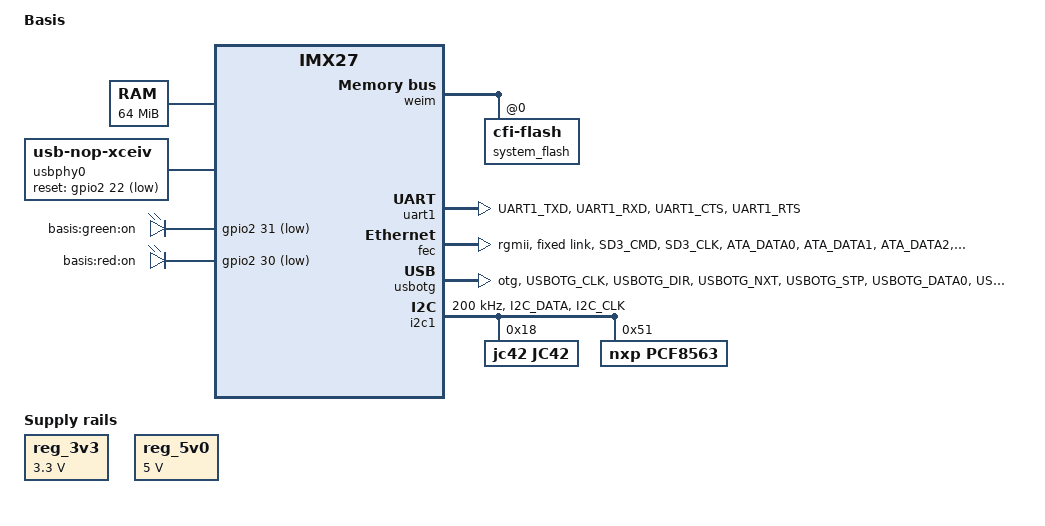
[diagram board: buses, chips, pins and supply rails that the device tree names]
/*
* MX27 Basis Device Tree Source stub (no addresses or top-level ranges)
*
* Copyright 2011-2012 Freescale Semiconductor Inc.
* Copyright 2014  Westermo Teleindustri AB
*
* Redistribution and use in source and binary forms, with or without
* modification, are permitted provided that the following conditions are met:
*     * Redistributions of source code must retain the above copyright
*       notice, this list of conditions and the following disclaimer.
*     * Redistributions in binary form must reproduce the above copyright
*       notice, this list of conditions and the following disclaimer in the
*       documentation and/or other materials provided with the distribution.
*     * Neither the name of Freescale Semiconductor nor the
*       names of its contributors may be used to endorse or promote products
*       derived from this software without specific prior written permission.
*
*
* ALTERNATIVELY, this software may be distributed under the terms of the
* GNU General Public License ("GPL") as published by the Free Software
* Foundation, either version 2 of that License or (at your option) any
* later version.
*
* THIS SOFTWARE IS PROVIDED BY Freescale Semiconductor ``AS IS'' AND ANY
* EXPRESS OR IMPLIED WARRANTIES, INCLUDING, BUT NOT LIMITED TO, THE IMPLIED
* WARRANTIES OF MERCHANTABILITY AND FITNESS FOR A PARTICULAR PURPOSE ARE
* DISCLAIMED. IN NO EVENT SHALL Freescale Semiconductor BE LIABLE FOR ANY
* DIRECT, INDIRECT, INCIDENTAL, SPECIAL, EXEMPLARY, OR CONSEQUENTIAL DAMAGES
* (INCLUDING, BUT NOT LIMITED TO, PROCUREMENT OF SUBSTITUTE GOODS OR SERVICES;
* LOSS OF USE, DATA, OR PROFITS; OR BUSINESS INTERRUPTION) HOWEVER CAUSED AND
* ON ANY THEORY OF LIABILITY, WHETHER IN CONTRACT, STRICT LIABILITY, OR TORT
* (INCLUDING NEGLIGENCE OR OTHERWISE) ARISING IN ANY WAY OUT OF THE USE OF THIS
* SOFTWARE, EVEN IF ADVISED OF THE POSSIBILITY OF SUCH DAMAGE.
*/

/dts-v1/;
#include "imx27.dtsi"

/ {
	compatible = "fsl,imx27";
	model = "Basis";
	family = "Basis";

	memory@a0000000 {
		reg = <0xa0000000 0x04000000>;
	};

	clocks {
		osc26m {
			clock-frequency = <25000000>;
		};
	};

	regulators {
		compatible = "simple-bus";
		#address-cells = <1>;
		#size-cells = <0>;

		reg_3v3: regulator@0 {
			compatible = "regulator-fixed";
			reg = <0>;
			regulator-name = "3V3";
			regulator-min-microvolt = <3300000>;
			regulator-max-microvolt = <3300000>;
		};

		reg_5v0: regulator@1 {
			compatible = "regulator-fixed";
			reg = <1>;
			regulator-name = "5V0";
			regulator-min-microvolt = <5000000>;
			regulator-max-microvolt = <5000000>;
		};
	};

	usbphy {
		compatible = "simple-bus";
		#address-cells = <1>;
		#size-cells = <0>;

		usbphy0: usbphy@0 {
			compatible = "usb-nop-xceiv";
			reg = <0>;
			reset-gpios = <&gpio2 22 GPIO_ACTIVE_LOW>;
			clocks = <&clks IMX27_CLK_DUMMY>;
			clock-names = "main_clk";
		};
	};

	gpio-leds {
		compatible = "gpio-leds";
		pinctrl-names = "default";
		pinctrl-0 = <&pinctrl_gpio_leds>;

		on_green: on-green {
			label = "basis:green:on";
                        gpios = <&gpio2 31 GPIO_ACTIVE_LOW>;
                        default-state = "off";
		};
		on_red: on-red {
			label = "basis:red:on";
                        gpios = <&gpio2 30 GPIO_ACTIVE_LOW>;
                        default-state = "on";
		};
	};

	chosen: chosen {
		base_mac_address = <0 0 0 0 0 0>;
	};
};

&iomuxc {
        pinctrls: basis {
		pinctrl_gpio_leds: onledgrp {
			fsl,pins = <
			MX27_PAD_USBH1_RXDM__GPIO2_30 0x0
			MX27_PAD_USBH1_RXDP__GPIO2_31 0x0
			>;
		};

		pinctrl_fec1: fec1grp {
			fsl,pins = <
			MX27_PAD_SD3_CMD__FEC_TXD0      0x0
			MX27_PAD_SD3_CLK__FEC_TXD1      0x0
			MX27_PAD_ATA_DATA0__FEC_TXD2    0x0
			MX27_PAD_ATA_DATA1__FEC_TXD3    0x0
			MX27_PAD_ATA_DATA2__FEC_RX_ER   0x0
			MX27_PAD_ATA_DATA3__FEC_RXD1    0x0
			MX27_PAD_ATA_DATA4__FEC_RXD2    0x0
			MX27_PAD_ATA_DATA5__FEC_RXD3    0x0
			MX27_PAD_ATA_DATA6__FEC_MDIO    0x0
			MX27_PAD_ATA_DATA7__FEC_MDC     0x0
			MX27_PAD_ATA_DATA8__FEC_CRS     0x0
			MX27_PAD_ATA_DATA9__FEC_TX_CLK  0x0
			MX27_PAD_ATA_DATA10__FEC_RXD0   0x0
			MX27_PAD_ATA_DATA11__FEC_RX_DV  0x0
			MX27_PAD_ATA_DATA12__FEC_RX_CLK 0x0
			MX27_PAD_ATA_DATA13__FEC_COL    0x0
			MX27_PAD_ATA_DATA14__FEC_TX_ER  0x0
			MX27_PAD_ATA_DATA15__FEC_TX_EN  0x0
			>;
		};

		pinctrl_uart1: uart1grp {
			fsl,pins = <
			MX27_PAD_UART1_TXD__UART1_TXD 0x0
			MX27_PAD_UART1_RXD__UART1_RXD 0x0
			MX27_PAD_UART1_CTS__UART1_CTS 0x0
			MX27_PAD_UART1_RTS__UART1_RTS 0x0
			>;
		};
		pinctrl_i2c1: i2c1grp {
			fsl,pins = <
			MX27_PAD_I2C_DATA__I2C_DATA 0x0
			MX27_PAD_I2C_CLK__I2C_CLK   0x0
			>;
		};

		pinctrl_i2c2: i2c2grp {
			fsl,pins = <
			MX27_PAD_I2C2_SDA__I2C2_SDA 0x0
			MX27_PAD_I2C2_SCL__I2C2_SCL 0x0
			>;
		};

		pinctrl_pmic: pmicgrp {
			fsl,pins = <
			MX27_PAD_USB_PWR__GPIO2_23 0x0 /* PMIC IRQ */
			>;
		};

		pinctrl_usbotg: usbotggrp {
			fsl,pins = <
			MX27_PAD_USBOTG_CLK__USBOTG_CLK     0x0
			MX27_PAD_USBOTG_DIR__USBOTG_DIR     0x0
			MX27_PAD_USBOTG_NXT__USBOTG_NXT     0x0
			MX27_PAD_USBOTG_STP__USBOTG_STP     0x0
			MX27_PAD_USBOTG_DATA0__USBOTG_DATA0 0x0
			MX27_PAD_USBOTG_DATA1__USBOTG_DATA1 0x0
			MX27_PAD_USBOTG_DATA2__USBOTG_DATA2 0x0
			MX27_PAD_USBOTG_DATA3__USBOTG_DATA3 0x0
			MX27_PAD_USBOTG_DATA4__USBOTG_DATA4 0x0
			MX27_PAD_USBOTG_DATA5__USBOTG_DATA5 0x0
			MX27_PAD_USBOTG_DATA6__USBOTG_DATA6 0x0
			MX27_PAD_USBOTG_DATA7__USBOTG_DATA7 0x0
			>;
		};
	};
};

&weim {
	status = "okay";

	system_flash: nor@0,0 {
		compatible = "cfi-flash";
		reg = <0 0x00000000 0x02000000>;
		bank-width = <2>;
                fsl,weim-cs-timing = <0x22c2cf00 0x75000d01 0x00000900>;
		#address-cells = <1>;
		#size-cells = <1>;
	};
};

&uart1 {
	fsl,uart-has-rtscts;
	pinctrl-names = "default";
	pinctrl-0 = <&pinctrl_uart1>;
	status = "okay";
};

&fec {
	status = "okay";
	pinctrl-names = "default";
	pinctrl-0 = <&pinctrl_fec1>;

	fsl,clock-always-on;

	phy-mode = "rgmii";
	fixed-link {
		speed = <100>;
		full-duplex;
	};
};

&usbotg {
	pinctrl-names = "default";
	pinctrl-0 = <&pinctrl_usbotg>;
	dr_mode = "otg";
	phy_type = "ulpi";
	fsl,usbphy = <&usbphy0>;
	disable-over-current;
	status = "okay";
};

&i2c1 {
	clock-frequency = <200000>;
	pinctrl-names = "default";
	pinctrl-0 = <&pinctrl_i2c1>;
	status = "okay";

	jc42@18 {
		compatible = "jc42,jc42";
		reg = <0x18>;
	};

	pcf8563@51 {
		compatible = "nxp,pcf8563";
		reg = <0x51>;
	};

	idmem_cpu0: idmem@50 {
		status = "disabled";
        compatible = "at24,24c02";
        read-only;
		reg = <0x50>;
	};

};

#include <common/system-flash/32M-single.dtsi>
